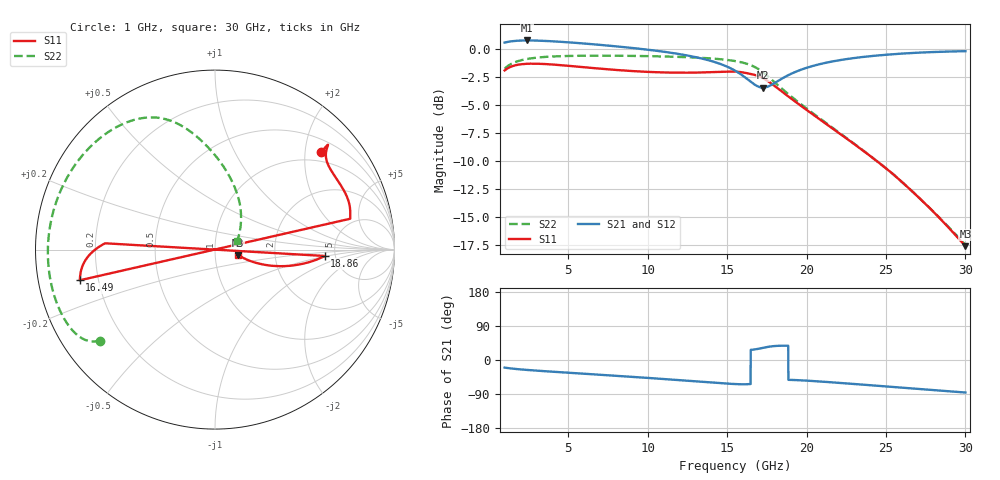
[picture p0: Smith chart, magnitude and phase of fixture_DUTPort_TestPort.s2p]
# Hz S MA R 50.0
!freq magS11 angS11 magS21 angS21 magS12 angS12 magS22 angS22
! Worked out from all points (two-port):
!   2901 points, 1 GHz to 30 GHz, reference 50 ohm
!   highest |S21| = 0.75 dB at 2.4 GHz (marker M1); lowest = -3.5 dB at 17.26 GHz (marker M2)
!   |S21| within 3 dB of the highest: start of sweep to 15.84 GHz; 19 GHz to end of sweep
!   lowest |S11| = -17.6 dB at 30 GHz (marker M3), VSWR 1.30, Z = 64.5 - j3.83 ohm
!   |S11| at or under -10 dB: 24.4 GHz to end of sweep
!   |S22| runs from -17.5 to -0.6 dB; largest |S21 - S12| = 1.4e-15
!   S11 on the Smith chart (normalised r, x): 1 GHz: 0.77, +2.34; 16.49 GHz: 0.13, -0.11; 18.86 GHz: 4.11, -0.47; 30 GHz: 1.29, -0.08
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1e9  0.8009 42.7  1.067 -20.1  1.067 -20.1  0.816 -141.6
2.4e9  0.8578 42.9  1.091 -26.2  1.091 -26.2  0.9012 -147.9
4e9  0.8516 42.6  1.081 -30.9  1.081 -30.9  0.9246 -155.6
5.84e9  0.8299 41.6  1.059 -35.8  1.059 -35.8  0.9318 -164.9
8.34e9  0.802 39.5  1.021 -42.6  1.021 -42.6  0.9315 -178.4
1.067e10  0.7859 36.2  0.9785 -49.2  0.9785 -49.2  0.9262 167.9
1.205e10  0.7826 33.3  0.9466 -53.3  0.9466 -53.3  0.9205 158.9
1.332e10  0.7842 29.8  0.9088 -57.2  0.9088 -57.2  0.9125 149.9
1.448e10  0.7892 25.3  0.8612 -60.8  0.8612 -60.8  0.9006 140.6
1.55e10  0.7913 19.7  0.7997 -63.5  0.7997 -63.5  0.8824 131.3
1.634e10  0.7765 13.9  0.7263 -63.8  0.7263 -63.8  0.8536 122.4
1.649e10  0.7725 -167.2  0.7127 26.7  0.7127 26.7  0.8458 120.6
1.663e10  0.7684 -168.3  0.7007 27.3  0.7007 27.3  0.8376 119.0
1.726e10  0.7398 -173.5  0.671 32.1  0.671 32.1  0.786 111.7
1.785e10  0.6948 -178.0  0.6941 36.3  0.6941 36.3  0.724 105.9
1.871e10  0.6242 177.3  0.7538 37.8  0.7538 37.8  0.6405 99.4
1.886e10  0.6126 -3.3  0.7634 -52.3  0.7634 -52.3  0.6275 98.4
1.9e10  0.6022 -3.9  0.7719 -52.5  0.7719 -52.5  0.6159 97.5
2.034e10  0.5128 -8.4  0.8368 -55.3  0.8368 -55.3  0.5195 89.4
2.259e10  0.3944 -13.5  0.9019 -62.0  0.9019 -62.0  0.3962 76.5
2.517e10  0.286 -17.1  0.9434 -70.3  0.9434 -70.3  0.2861 60.9
3e10  0.1312 -12.8  0.9768 -85.9  0.9768 -85.9  0.133 21.8
